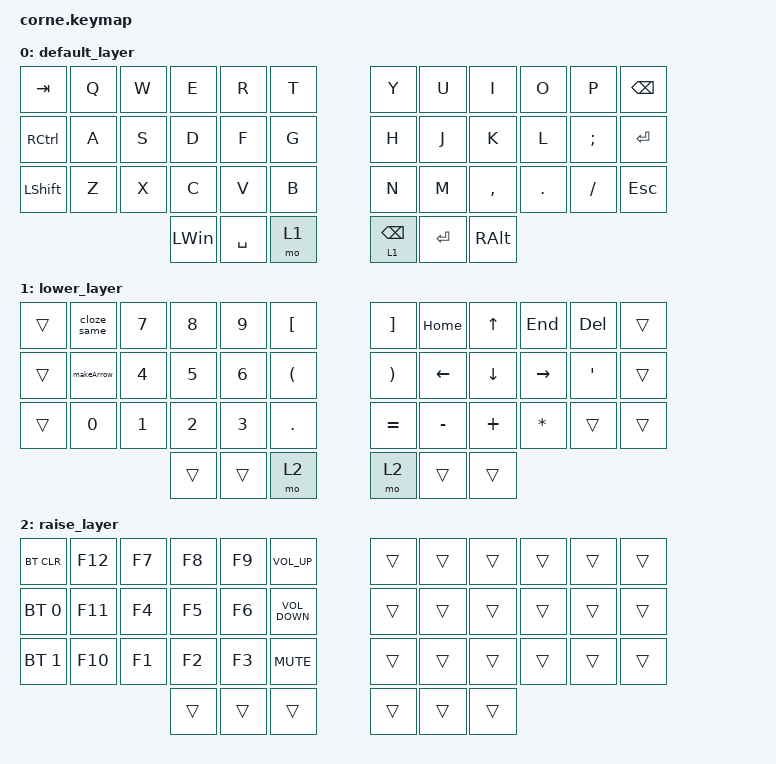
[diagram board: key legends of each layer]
/*
 * Copyright (c) 2020 The ZMK Contributors
 *
 * SPDX-License-Identifier: MIT
 */

#include <behaviors.dtsi>
#include <dt-bindings/zmk/bt.h>
#include <dt-bindings/zmk/keys.h>

/ {
    macros {
        cloze_same: cloze_same {
            compatible = "zmk,behavior-macro";
            #binding-cells = <0>;
            bindings =
                <&macro_press>,
                <&kp LEFT_SHIFT &kp RCTRL &kp LEFT_ALT>,
                <&macro_tap>,
                <&kp C>,
                <&macro_release>,
                <&kp LEFT_SHIFT &kp RCTRL &kp LEFT_ALT>;

            label = "CLOZE_SAME";
        };

        cloze_new: cloze_new {
            compatible = "zmk,behavior-macro";
            #binding-cells = <0>;
            bindings =
                <&macro_press>,
                <&kp LSHIFT &kp RCTRL>,
                <&macro_tap>,
                <&kp C>,
                <&macro_release>,
                <&kp LSHIFT &kp RCTRL>;

            label = "CLOZE_NEW";
        };

        snipshot: snipshot {
            compatible = "zmk,behavior-macro";
            #binding-cells = <0>;
            bindings =
                <&macro_press>,
                <&kp LEFT_WIN &kp LSHFT>,
                <&macro_tap>,
                <&kp S>,
                <&macro_release>,
                <&kp LEFT_WIN &kp LEFT_SHIFT>;

            label = "SNIPSHOT";
        };

        makeArrow: makeArrow {
            compatible = "zmk,behavior-macro";
            #binding-cells = <0>;
            bindings = <&kp MINUS &kp MINUS &kp GT>;
            label = "MAKEARROW";
        };
    };

    combos {
        compatible = "zmk,combos";

        delCombo {
            bindings = <&kp DEL>;
            key-positions = <10 9>;
        };

        escCombo {
            bindings = <&kp ESC>;
            key-positions = <1 2>;
        };

        altCombo {
            bindings = <&kp RALT>;
            key-positions = <38 37>;
        };

        enterCombo {
            bindings = <&kp ENTER>;
            key-positions = <19 20 21>;
        };

        delOutCombo {
            bindings = <&kp DEL>;
            key-positions = <10 11>;
        };
    };

    keymap {
        compatible = "zmk,keymap";

        default_layer {
            // -----------------------------------------------------------------------------------------
            // |  TAB |  Q  |  W  |  E  |  R  |  T  |   |  Y  |  U   |  I  |  O  |  P  | BKSP |
            // | CTRL |  A  |  S  |  D  |  F  |  G  |   |  H  |  J   |  K  |  L  |  ;  |  '   |
            // | SHFT |  Z  |  X  |  C  |  V  |  B  |   |  N  |  M   |  ,  |  .  |  /  | ESC  |
            //                    | GUI | LWR | SPC |   | ENT | RSE  | ALT |

            bindings = <
&kp TAB         &kp Q  &kp W  &kp E         &kp R      &kp T    &kp Y            &kp U      &kp I      &kp O    &kp P     &kp BACKSPACE
&kp RCTRL       &kp A  &kp S  &kp D         &kp F      &kp G    &kp H            &kp J      &kp K      &kp L    &kp SEMI  &kp ENTER
&kp LEFT_SHIFT  &kp Z  &kp X  &kp C         &kp V      &kp B    &kp N            &kp M      &kp COMMA  &kp DOT  &kp FSLH  &kp ESCAPE
                              &kp LEFT_WIN  &kp SPACE  &mo 1    &lt 1 BACKSPACE  &kp ENTER  &kp RALT
            >;
        };

        lower_layer {
            // -----------------------------------------------------------------------------------------
            // |  TAB |  1  |  2  |  3  |  4  |  5  |   |  6  |  7  |  8  |  9  |  0  | BKSP |
            // | BTCLR| BT1 | BT2 | BT3 | BT4 | BT5 |   | LFT | DWN |  UP | RGT |     |      |
            // | SHFT |     |     |     |     |     |   |     |     |     |     |     |      |
            //                    | GUI |     | SPC |   | ENT |     | ALT |

            bindings = <
&trans  &cloze_same  &kp N7  &kp N8  &kp N9  &kp LEFT_BRACKET        &kp RIGHT_BRACKET      &kp HOME   &kp UP_ARROW  &kp END       &kp DELETE        &trans
&trans  &makeArrow   &kp N4  &kp N5  &kp N6  &kp LEFT_PARENTHESIS    &kp RIGHT_PARENTHESIS  &kp LEFT   &kp DOWN      &kp RIGHT     &kp SINGLE_QUOTE  &trans
&trans  &kp N0       &kp N1  &kp N2  &kp N3  &kp DOT                 &kp EQUAL              &kp MINUS  &kp PLUS      &kp ASTERISK  &trans            &trans
                             &trans  &trans  &mo 2                   &mo 2                  &trans     &trans
            >;
        };

        raise_layer {
            // -----------------------------------------------------------------------------------------
            // |  TAB |  !  |  @  |  #  |  $  |  %  |   |  ^  |  &  |  *  |  (  |  )  | BKSP |
            // | CTRL |     |     |     |     |     |   |  -  |  =  |  [  |  ]  |  \  |  `   |
            // | SHFT |     |     |     |     |     |   |  _  |  +  |  {  |  }  | "|" |  ~   |
            //                    | GUI |     | SPC |   | ENT |     | ALT |

            bindings = <
&bt BT_CLR    &kp F12  &kp F7  &kp F8  &kp F9  &kp C_VOLUME_UP      &trans  &trans  &trans  &trans  &trans  &trans
&bt BT_SEL 0  &kp F11  &kp F4  &kp F5  &kp F6  &kp C_VOLUME_DOWN    &trans  &trans  &trans  &trans  &trans  &trans
&bt BT_SEL 1  &kp F10  &kp F1  &kp F2  &kp F3  &kp C_MUTE           &trans  &trans  &trans  &trans  &trans  &trans
                               &trans  &trans  &trans               &trans  &trans  &trans
            >;
        };
    };
};
